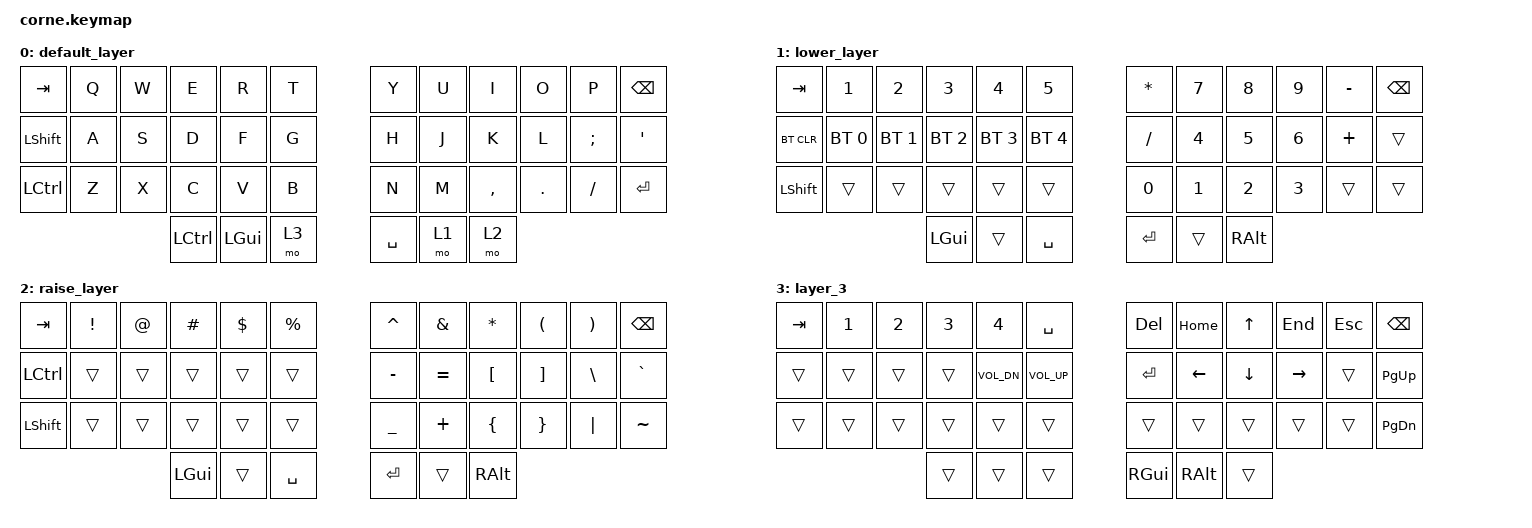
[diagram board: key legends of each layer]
/*
 * Copyright (c) 2020 The ZMK Contributors
 *
 * SPDX-License-Identifier: MIT
 */

#include <behaviors.dtsi>
#include <dt-bindings/zmk/bt.h>
#include <dt-bindings/zmk/keys.h>

/ {
    keymap {
        compatible = "zmk,keymap";

        default_layer {
            // -----------------------------------------------------------------------------------------
            // |  TAB |  Q  |  W  |  E  |  R  |  T  |   |  Y  |  U   |  I  |  O  |  P  | BKSP |
            // | CTRL |  A  |  S  |  D  |  F  |  G  |   |  H  |  J   |  K  |  L  |  ;  |  '   |
            // | SHFT |  Z  |  X  |  C  |  V  |  B  |   |  N  |  M   |  ,  |  .  |  /  | ESC  |
            //                    | GUI | LWR | SPC |   | ENT | RSE  | ALT |

            bindings = <
&kp TAB         &kp Q  &kp W  &kp E      &kp R     &kp T    &kp Y      &kp U  &kp I      &kp O    &kp P     &kp BSPC
&kp LEFT_SHIFT  &kp A  &kp S  &kp D      &kp F     &kp G    &kp H      &kp J  &kp K      &kp L    &kp SEMI  &kp SQT
&kp LCTRL       &kp Z  &kp X  &kp C      &kp V     &kp B    &kp N      &kp M  &kp COMMA  &kp DOT  &kp FSLH  &kp ENTER
                              &kp LCTRL  &kp LGUI  &mo 3    &kp SPACE  &mo 1  &mo 2
            >;
        };

        lower_layer {
            // -----------------------------------------------------------------------------------------
            // |  TAB |  1  |  2  |  3  |  4  |  5  |   |  6  |  7  |  8  |  9  |  0  | BKSP |
            // | BTCLR| BT1 | BT2 | BT3 | BT4 | BT5 |   | LFT | DWN |  UP | RGT |     |      |
            // | SHFT |     |     |     |     |     |   |     |     |     |     |     |      |
            //                    | GUI |     | SPC |   | ENT |     | ALT |

            bindings = <
&kp TAB     &kp NUMBER_1  &kp NUMBER_2  &kp N3        &kp N4        &kp N5          &kp STAR   &kp N7        &kp N8        &kp N9        &kp MINUS  &kp BSPC
&bt BT_CLR  &bt BT_SEL 0  &bt BT_SEL 1  &bt BT_SEL 2  &bt BT_SEL 3  &bt BT_SEL 4    &kp SLASH  &kp NUMBER_4  &kp N5        &kp NUMBER_6  &kp PLUS   &trans
&kp LSHFT   &trans        &trans        &trans        &trans        &trans          &kp N0     &kp NUMBER_1  &kp NUMBER_2  &kp NUMBER_3  &trans     &trans
                                        &kp LGUI      &trans        &kp SPACE       &kp RET    &trans        &kp RALT
            >;
        };

        raise_layer {
            // -----------------------------------------------------------------------------------------
            // |  TAB |  !  |  @  |  #  |  $  |  %  |   |  ^  |  &  |  *  |  (  |  )  | BKSP |
            // | CTRL |     |     |     |     |     |   |  -  |  =  |  [  |  ]  |  \  |  `   |
            // | SHFT |     |     |     |     |     |   |  _  |  +  |  {  |  }  | "|" |  ~   |
            //                    | GUI |     | SPC |   | ENT |     | ALT |

            bindings = <
&kp TAB    &kp EXCL  &kp AT  &kp HASH  &kp DLLR  &kp PRCNT    &kp CARET  &kp AMPS   &kp ASTRK  &kp LPAR  &kp RPAR  &kp BSPC
&kp LCTRL  &trans    &trans  &trans    &trans    &trans       &kp MINUS  &kp EQUAL  &kp LBKT   &kp RBKT  &kp BSLH  &kp GRAVE
&kp LSHFT  &trans    &trans  &trans    &trans    &trans       &kp UNDER  &kp PLUS   &kp LBRC   &kp RBRC  &kp PIPE  &kp TILDE
                             &kp LGUI  &trans    &kp SPACE    &kp RET    &trans     &kp RALT
            >;
        };

        layer_3 {
            bindings = <
&kp TAB  &kp NUMBER_1  &kp NUMBER_2  &kp NUMBER_3  &kp NUMBER_4  &kp SPACE       &kp DEL        &kp HOME       &kp UP    &kp END    &kp ESC  &kp BACKSPACE
&trans   &trans        &trans        &trans        &kp C_VOL_DN  &kp C_VOL_UP    &kp RET        &kp LEFT       &kp DOWN  &kp RIGHT  &trans   &kp PG_UP
&trans   &trans        &trans        &trans        &trans        &trans          &trans         &trans         &trans    &trans     &trans   &kp PAGE_DOWN
                                     &trans        &trans        &trans          &kp RIGHT_GUI  &kp RIGHT_ALT  &trans
            >;
        };
    };
};
